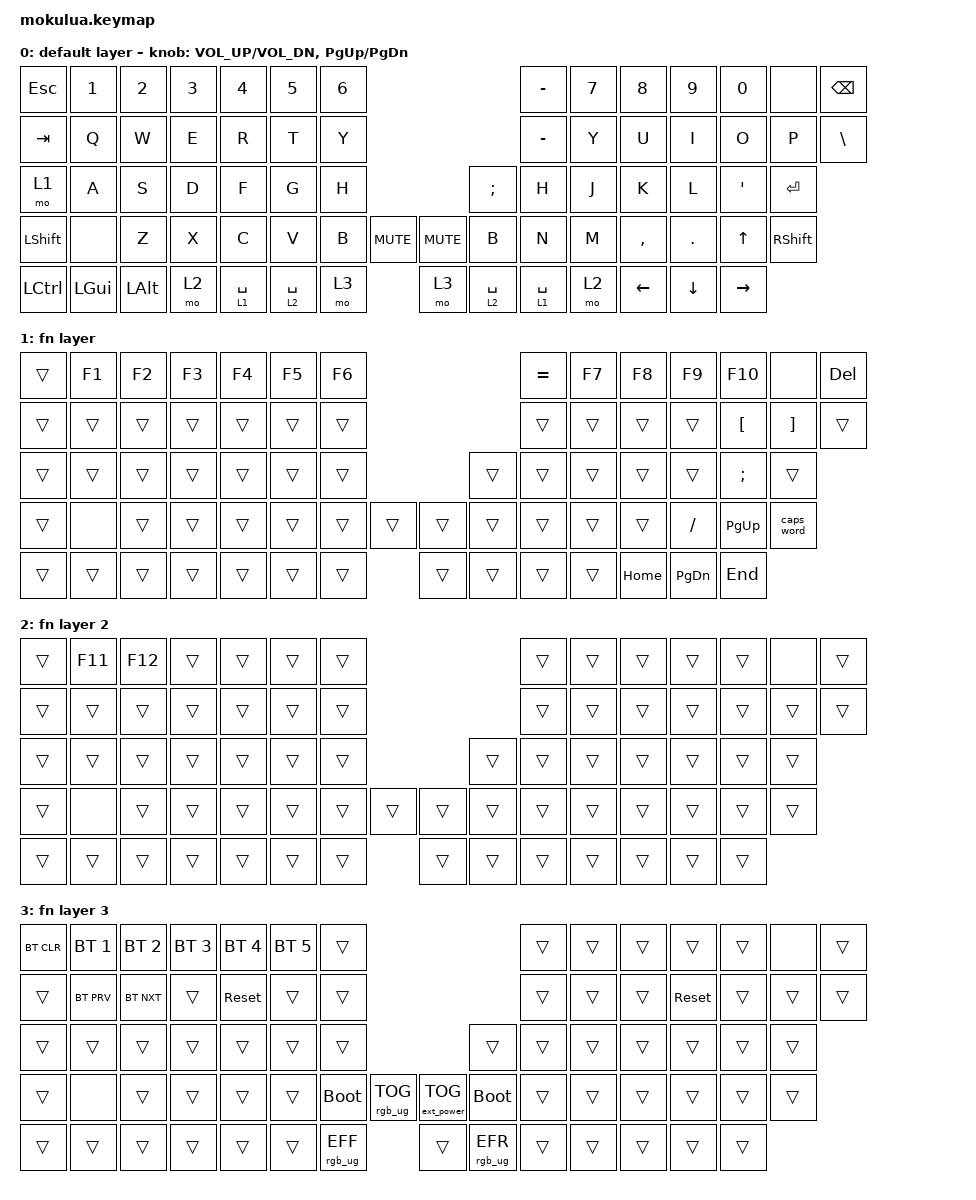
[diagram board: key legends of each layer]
/*
 * Copyright (c) 2023 The ZMK Contributors
 *
 * SPDX-License-Identifier: MIT
 */

#include <behaviors.dtsi>
#include <dt-bindings/zmk/keys.h>
#include <dt-bindings/zmk/bt.h>
#include <dt-bindings/zmk/rgb.h>
#include <dt-bindings/zmk/ext_power.h>

/ {
    chosen {
        zmk,matrix_transform = &mirrored_all_transform;
    };

    keymap {
        compatible = "zmk,keymap";

        default_layer {
            display-name = "default layer";
            //    --------------------------------------------          ---------------------------------------------
            //    |  ESC |  1  |  2  |  3  |  4  |  5  |  6  |          |  -  |  7  |  8  |  9  |  0  | NONE | BKSP |
            //   |  TAB   |  Q  |  W  |  E  |  R  |  T  |  Y  |             |  Y  |  U  |  I  |  O  |   P   |    \    |
            //  |   1   |  A  |  S  |  D  |  F  |  G  |  H  |           |  ;  |  H  |  J  |  K  |  L  |  '  |   ENT   |
            // | SHFT |NONE|  Z  |  X  |  C  |  V  |  B  | MUTE |    | MUTE |  B  |  N  |  M   |  , |  .  |  UP  |  SHFT |
            // | CTRL | GUI | ALT |  2  |  SP1  |  SP2  | 3 |    | 3 |  SP2  |  SP1  |  2  |  LFT  | DWN | RGHT |
            // --------------------------------------------------    ----------------------------------------------------
            bindings = <
                &kp ESC   &kp N1   &kp N2   &kp N3  &kp N4  &kp N5 &kp N6                             &kp MINUS  &kp N7 &kp N8 &kp N9   &kp N0  &none    &kp BSPC
                &kp TAB   &kp Q    &kp W    &kp E   &kp R   &kp T  &kp Y                              &kp MINUS  &kp Y  &kp U  &kp I    &kp O   &kp P    &kp BSLH
                &mo 1   &kp A    &kp S    &kp D   &kp F   &kp G  &kp H                              &kp SEMI   &kp H  &kp J  &kp K    &kp L   &kp SQT  &kp RET
                &kp LSHFT &none    &kp Z    &kp X   &kp C   &kp V  &kp B  &kp C_MUTE       &kp C_MUTE &kp B  &kp N  &kp M    &kp COMMA  &kp DOT &kp UP   &kp RSHFT
                &kp LCTRL &kp LGUI &kp LALT &mo 2 &lt 1 SPACE &lt 2 SPACE &mo 3    &mo 3 &lt 2 SPACE &lt 1 SPACE &mo 2 &kp LEFT &kp DOWN &kp RIGHT
                >;
            sensor-bindings = <&inc_dec_kp C_VOL_UP C_VOL_DN &inc_dec_kp PG_UP PG_DN>;
        };

        fn1_layer {
            display-name = "fn layer";
            //    --------------------------------------------          --------------------------------------
            //    |      | F1  | F2  | F3  | F4  | F5  | F6  |          |  =  | F7  | F8  | F9  | F10 | NONE | DEL |
            //   |        |     |     |     |     |     |     |             |     |     |     | LBKT | RBKT |        |
            //  |         |     |     |     |     |     |     |           |     |     |     |     |     |  ;  |        |
            // |      |NONE|     |     |     |     |     |      |    |      |     |     |      |    |   /  | PGUP|CAPS WORD|
            // |      |     |     |       |       |       |     |    |     |       |       |       |  HOME |PGDWN|  END |
            // --------------------------------------------------    ----------------------------------------------------
            bindings = <
                &trans &kp F1 &kp F2 &kp F3 &kp F4 &kp F5 &kp F6                &kp EQUAL &kp F7 &kp F8 &kp F9 &kp F10  &none     &kp DEL
                &trans &trans &trans &trans &trans &trans &trans                &trans    &trans &trans &trans &kp LBKT &kp RBKT  &trans
                &trans &trans &trans &trans &trans &trans &trans                &trans    &trans &trans &trans &trans   &kp SEMI  &trans
                &trans &none  &trans &trans &trans &trans &trans &trans  &trans &trans    &trans &trans &trans &kp FSLH &kp PG_UP &caps_word
                &trans &trans &trans &trans &trans &trans &trans                &trans    &trans &trans &trans &kp HOME &kp PG_DN &kp END
                >;
        };

        fn2_layer {
            display-name = "fn layer 2";
            //    --------------------------------------------          --------------------------------------
            //    |      | F11 | F12 |     |     |     |     |          |     |     |     |     |      | NONE |     |
            //   |        |     |     |     |     |     |     |             |     |     |     |      |      |         |
            //  |         |     |     |     |     |     |     |           |     |     |     |     |     |  ;  |        |
            // |      |NONE|     |     |     |     |     |      |    |      |     |     |      |    |      |     |      |
            // |      |     |     |       |       |       |     |    |     |       |       |       |       |     |      |
            // --------------------------------------------------    ----------------------------------------------------
            bindings = <
                &trans &kp F11 &kp F12 &trans &trans &trans &trans               &trans &trans &trans &trans &trans &none  &trans
                &trans &trans  &trans  &trans &trans &trans &trans               &trans &trans &trans &trans &trans &trans &trans
                &trans &trans  &trans  &trans &trans &trans &trans               &trans &trans &trans &trans &trans &trans &trans
                &trans &none   &trans  &trans &trans &trans &trans &trans &trans &trans &trans &trans &trans &trans &trans &trans
                &trans &trans  &trans  &trans &trans &trans &trans               &trans &trans &trans &trans &trans &trans &trans
                >;
        };

        fn3_layer {
            display-name = "fn layer 3";
            //    --------------------------------------------          --------------------------------------
            //    |BT CLR| BT1 | BT2 | BT3 | BT4 | BT5 |      |          |     |     |     |     |     | NONE |     |
            //   |        |BT PRV|BT NXT|     |RESET|     |     |             |     |     |RESET|     |     |         |
            //  |         |      |      |     |     |     |     |           |     |     |     |     |     |     |        |
            // |      |NONE|      |      |     |    | BOOT |RGB_TOG|   |EP_TOG| BOOT |     |      |     |      |     |      |
            // |      |     |      |        |       |      |RGB_EFR|   |RGB_EFF|       |       |       |       |     |      |
            // --------------------------------------------------    --------------------------------------------------------
            bindings = <
                &bt BT_CLR &bt BT_SEL 1 &bt BT_SEL 2 &bt BT_SEL 3 &bt BT_SEL 4 &bt BT_SEL 5 &trans                                               &trans      &trans          &trans &trans     &trans &none  &trans
                &trans     &bt BT_PRV   &bt BT_NXT   &trans       &sys_reset   &trans       &trans                                               &trans      &trans          &trans &sys_reset &trans &trans &trans
                &trans     &trans       &trans       &trans       &trans       &trans       &trans                                               &trans      &trans          &trans &trans     &trans &trans &trans
                &trans     &none        &trans       &trans       &trans       &trans       &bootloader     &rgb_ug RGB_TOG    &ext_power EP_TOG &bootloader &trans          &trans &trans     &trans &trans &trans
                &trans     &trans       &trans       &trans       &trans       &trans       &rgb_ug RGB_EFF                                      &trans      &rgb_ug RGB_EFR &trans &trans     &trans &trans &trans
                >;
        };
    };
};
